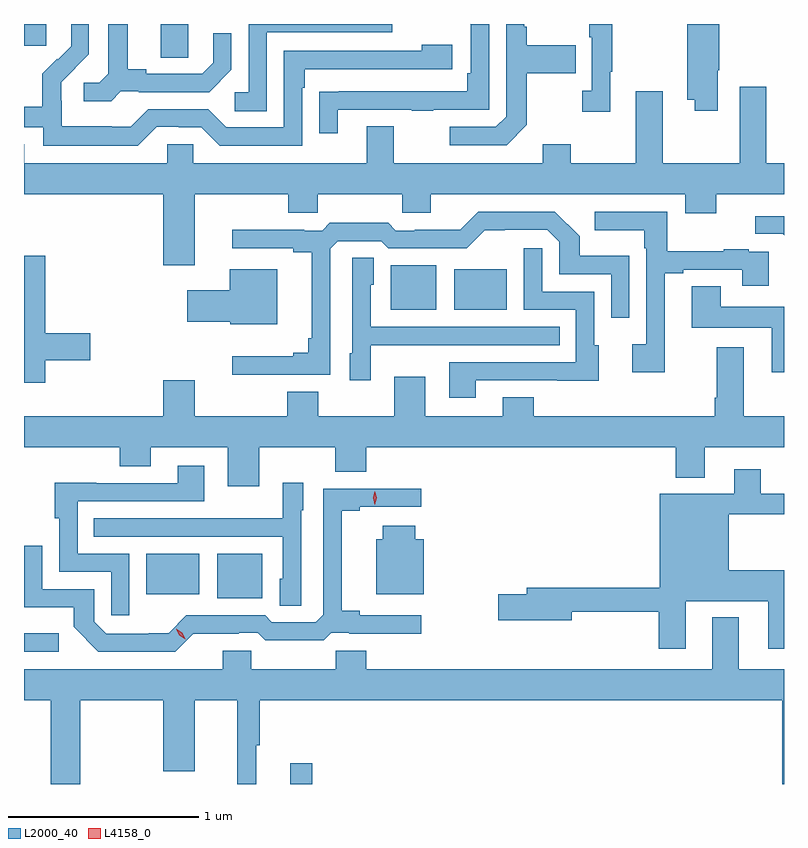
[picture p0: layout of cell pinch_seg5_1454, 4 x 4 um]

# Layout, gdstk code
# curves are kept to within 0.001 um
import gdstk
lib = gdstk.Library(unit=1e-6, precision=1e-09)
def R(c, l, rs):  # rectangles x0, y0, x1, y1
    for r in rs: c.add(gdstk.rectangle(r[:2], r[2:], *l))
def P(c, l, *ps):  # polygons
    for p in ps: c.add(gdstk.Polygon(p, *l))
L2000_40 = (2000, 40)
L4158_0 = (4158, 0)

pinch_seg5_1454 = lib.new_cell('pinch_seg5_1454')
R(pinch_seg5_1454, L2000_40, [(201.638,844.332,201.755,844.441), (200.238,845.028,200.422,845.125), (201.254,845.309,201.493,845.545), (200.882,845.33,201.16,845.545), (202.169,846.827,202.408,847.063), (202.502,846.827,202.78,847.042), (200.957,848.155,201.102,848.332), (200.238,848.217,200.356,848.332)])
P(pinch_seg5_1454, L2000_40, [(200.937,847.791),(201.053,847.791),(201.053,847.788),(201.171,847.788),(201.267,847.692),(201.702,847.692),(201.702,847.997),(201.715,847.997),(201.715,848.094),(202.492,848.094),(202.492,848.224),(202.331,848.224),(202.331,848.19),(201.606,848.19),(201.606,847.788),(201.303,847.788),(201.207,847.884),(200.892,847.884),(200.799,847.791),(200.699,847.791),(200.699,847.795),(200.436,847.795),(200.436,847.929),(200.434,847.929),(200.434,848.026),(200.58,848.174),(200.58,848.332),(200.486,848.332),(200.486,848.216),(200.415,848.145),(200.412,848.148),(200.335,848.071),(200.335,847.897),(200.238,847.897),(200.238,847.788),(200.34,847.788),(200.34,847.691),(200.837,847.691)],
  [(203.89,848.089),(203.898,848.089),(203.898,848.332),(203.728,848.332),(203.728,847.934),(203.768,847.934),(203.768,847.875),(203.89,847.875)],
  [(202.885,847.801),(202.885,848.074),(203.141,848.074),(203.141,848.221),(202.885,848.221),(202.885,848.317),(202.872,848.317),(202.872,848.332),(202.776,848.332),(202.776,847.845),(202.722,847.791),(202.479,847.791),(202.479,847.695),(202.779,847.695)],
  [(203.323,848.081),(203.335,848.081),(203.335,848.332),(203.214,848.332),(203.214,848.261),(203.226,848.261),(203.226,847.982),(203.175,847.982),(203.175,847.869),(203.323,847.869)],
  [(201.516,848.289),(202.175,848.289),(202.175,848.332),(201.42,848.332),(201.42,847.974),(201.348,847.974),(201.348,847.873),(201.516,847.873)],
  [(200.748,847.977),(200.842,847.977),(200.842,847.974),(201.214,847.974),(201.33,848.09),(201.33,848.284),(201.233,848.284),(201.233,848.127),(201.176,848.07),(200.881,848.07),(200.881,848.093),(200.785,848.093),(200.785,848.332),(200.681,848.332),(200.681,848.069),(200.634,848.022),(200.553,848.022),(200.553,847.925),(200.696,847.925)],
  [(201.889,847.881),(202.279,847.881),(202.279,847.876),(202.391,847.876),(202.391,847.881),(202.686,847.881),(202.686,848.332),(202.586,848.332),(202.59,848.328),(202.59,848.074),(202.57,848.074),(202.57,847.977),(201.793,847.976),(201.793,847.758),(201.889,847.758)],
  [(201.136,847.436),(201.628,847.436),(201.628,847.338),(201.783,847.338),(201.783,847.436),(202.228,847.436),(202.228,847.338),(202.378,847.338),(202.378,847.436),(203.717,847.436),(203.717,847.337),(203.881,847.337),(203.881,847.436),(204.238,847.436),(204.238,847.6),(204.145,847.6),(204.145,848.002),(204.005,848.002),(204.005,847.6),(203.599,847.6),(203.599,847.978),(203.459,847.978),(203.459,847.6),(203.115,847.6),(203.115,847.699),(202.967,847.699),(202.967,847.6),(202.183,847.6),(202.183,847.795),(202.043,847.795),(202.043,847.6),(201.129,847.6),(201.129,847.698),(200.991,847.698),(200.991,847.6),(200.239,847.6),(200.239,847.699),(200.238,847.699),(200.238,847.436),(200.972,847.436),(200.972,847.062),(201.136,847.062)],
  [(203.611,847.02),(203.707,847.02),(203.707,847.038),(204.017,847.038),(204.017,846.954),(204.157,846.954),(204.157,847.134),(204.053,847.134),(204.053,847.147),(203.921,847.147),(203.921,847.136),(203.623,847.136),(203.623,847.344),(203.241,847.344),(203.241,847.247),(203.502,847.247),(203.502,847.151),(203.514,847.151),(203.514,846.646),(203.439,846.646),(203.439,846.498),(203.611,846.498)],
  [(201.849,847.149),(201.888,847.188),(202.119,847.188),(202.155,847.152),(202.569,847.152),(202.664,847.247),(202.992,847.248),(203.055,847.185),(203.055,847.014),(203.328,847.014),(203.328,846.786),(203.424,846.786),(203.424,847.111),(203.163,847.111),(203.163,847.214),(203.032,847.344),(202.629,847.344),(202.535,847.25),(202.294,847.25),(202.294,847.245),(202.194,847.245),(202.155,847.285),(201.847,847.285),(201.807,847.245),(201.713,847.245),(201.713,847.25),(201.333,847.25),(201.333,847.152),(201.656,847.152),(201.656,847.13),(201.752,847.13),(201.752,846.679),(201.733,846.679),(201.733,846.602),(201.656,846.602),(201.656,846.583),(201.333,846.583),(201.333,846.486),(201.849,846.486)],
  [(204.238,847.321),(204.087,847.321),(204.087,847.227),(204.231,847.227),(204.238,847.22)],
  [(202.615,846.456),(203.045,846.456),(203.045,846.455),(203.263,846.455),(203.263,846.642),(203.238,846.642),(203.238,846.924),(202.965,846.924),(202.965,847.153),(202.869,847.153),(202.869,846.828),(203.142,846.828),(203.142,846.552),(202.475,846.552),(202.475,846.366),(202.615,846.366)],
  [(200.351,846.562),(200.587,846.562),(200.587,846.704),(200.351,846.704),(200.351,847.111),(200.238,847.111),(200.238,846.444),(200.351,846.444)],
  [(202.062,846.641),(202.379,846.641),(202.379,846.642),(203.057,846.642),(203.057,846.738),(202.062,846.738),(202.062,846.96),(202.078,846.96),(202.078,847.103),(201.966,847.103),(201.966,846.6),(201.953,846.6),(201.953,846.456),(202.062,846.456)],
  [(201.571,847.042),(201.32,847.042),(201.32,846.931),(201.096,846.931),(201.096,846.766),(201.324,846.766),(201.324,846.752),(201.571,846.752)],
  [(204.238,846.844),(203.905,846.844),(203.905,846.953),(203.753,846.953),(203.753,846.734),(204.173,846.734),(204.173,846.498),(204.238,846.498)],
  [(201.475,846.104),(201.875,846.104),(201.875,845.976),(202.039,845.976),(202.039,846.104),(203.669,846.104),(203.669,845.945),(203.821,845.945),(203.821,846.104),(204.238,846.104),(204.238,846.268),(204.025,846.268),(204.025,846.631),(203.885,846.631),(203.885,846.364),(203.873,846.364),(203.873,846.268),(202.921,846.268),(202.921,846.367),(202.757,846.367),(202.757,846.268),(202.351,846.268),(202.351,846.475),(202.187,846.475),(202.187,846.268),(201.787,846.268),(201.787,846.397),(201.623,846.397),(201.623,846.268),(201.136,846.268),(201.136,846.457),(200.972,846.457),(200.972,846.268),(200.238,846.268),(200.238,846.104),(200.741,846.104),(200.741,846.005),(200.905,846.005),(200.905,846.104),(201.311,846.104),(201.311,845.898),(201.475,845.898)],
  [(200.793,845.544),(200.52,845.544),(200.52,845.82),(201.187,845.82),(201.187,846.007),(201.047,846.007),(201.047,845.916),(200.617,845.916),(200.617,845.918),(200.399,845.918),(200.399,845.73),(200.424,845.73),(200.424,845.448),(200.697,845.448),(200.697,845.22),(200.793,845.22)],
  [(203.722,845.294),(204.155,845.294),(204.155,845.043),(204.238,845.043),(204.238,845.458),(203.947,845.458),(203.947,845.751),(204.238,845.751),(204.238,845.859),(204.115,845.859),(204.115,845.989),(203.975,845.989),(203.975,845.86),(203.585,845.86),(203.585,845.366),(202.883,845.366),(202.883,845.33),(202.734,845.33),(202.734,845.195),(203.122,845.195),(203.122,845.238),(203.578,845.238),(203.578,845.043),(203.722,845.043)],
  [(201.696,845.772),(201.709,845.772),(201.709,845.917),(201.6,845.917),(201.6,845.731),(201.283,845.731),(201.283,845.73),(200.605,845.73),(200.605,845.634),(201.6,845.634),(201.6,845.412),(201.584,845.412),(201.584,845.269),(201.696,845.269)],
  [(201.128,845.123),(201.368,845.123),(201.368,845.127),(201.468,845.127),(201.508,845.088),(201.815,845.088),(201.855,845.127),(201.949,845.127),(201.949,845.123),(202.33,845.123),(202.33,845.22),(202.006,845.22),(202.006,845.243),(201.911,845.243),(201.911,845.77),(202.006,845.77),(202.006,845.79),(202.33,845.79),(202.33,845.886),(201.813,845.886),(201.813,845.223),(201.774,845.184),(201.543,845.184),(201.507,845.22),(201.093,845.22),(200.999,845.126),(200.894,845.126),(200.894,845.124),(200.67,845.124),(200.607,845.187),(200.607,845.358),(200.334,845.358),(200.334,845.587),(200.238,845.587),(200.238,845.261),(200.5,845.261),(200.5,845.159),(200.63,845.028),(201.033,845.028)],
  [(202.342,845.62),(202.298,845.62),(202.298,845.692),(202.127,845.692),(202.127,845.62),(202.091,845.62),(202.091,845.33),(202.342,845.33)],
  [(200.535,844.772),(200.972,844.772),(200.972,844.398),(201.136,844.398),(201.136,844.772),(201.361,844.772),(201.361,844.332),(201.461,844.332),(201.461,844.536),(201.479,844.536),(201.479,844.772),(204.228,844.772),(204.228,844.332),(204.238,844.332),(204.238,844.936),(204.001,844.936),(204.001,845.209),(203.861,845.209),(203.861,844.936),(202.04,844.936),(202.04,845.034),(201.88,845.034),(201.88,844.936),(201.435,844.936),(201.435,845.034),(201.284,845.034),(201.284,844.936),(200.238,844.936),(200.238,844.772),(200.38,844.772),(200.38,844.332),(200.535,844.332)])
P(pinch_seg5_1454, L4158_0, [(202.085,845.801),(202.085,845.802),(202.075,845.838),(202.085,845.873),(202.085,845.873),(202.085,845.873),(202.095,845.838),(202.085,845.802)],
  [(201.086,845.095),(201.055,845.116),(201.038,845.149),(201.038,845.15),(201.039,845.15),(201.07,845.129),(201.086,845.095),(201.086,845.095)])

lib.write_gds('pinch_seg5_1454.gds')
